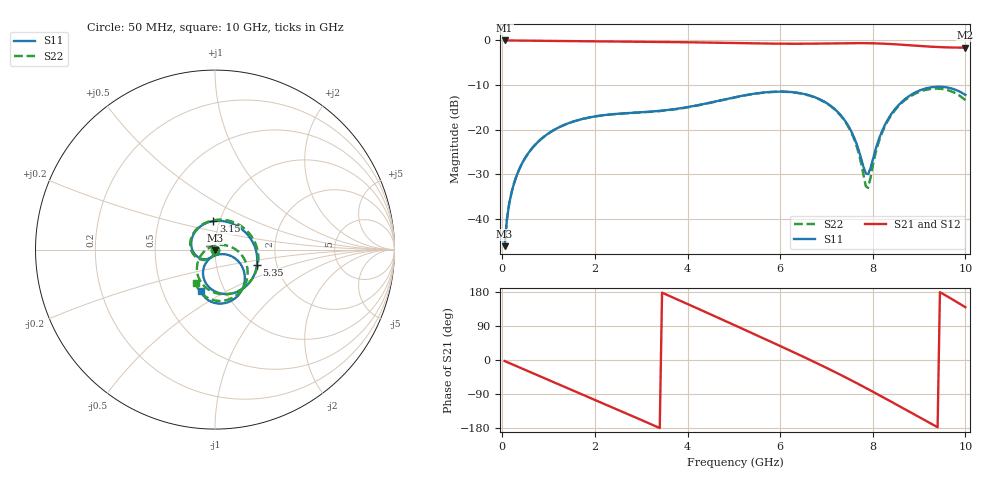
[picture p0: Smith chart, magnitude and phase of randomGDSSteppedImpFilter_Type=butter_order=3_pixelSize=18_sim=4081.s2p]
! freq	dB(S11)	phase(S11)	dB(S12)	phase(S12)
!  dB(S21)	phase(S21)	dB(S22)	phase(S22)
!S-par simulation data
#  GHz  S  DB  R 50
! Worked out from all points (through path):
!   200 points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, 50 MHz to 10 GHz, reference 50 ohm
!   highest |S21| = -0.01 dB at 50 MHz (marker M1); lowest = -1.6 dB at 10 GHz (marker M2)
!   group delay of S21, straight-line fit = 159 ps
!   lowest |S11| = -46.1 dB at 50 MHz (marker M3), VSWR 1.01, Z = 50 - j0.496 ohm
!   |S11| at or under -10 dB: start of sweep to end of sweep
!   |S22| runs from -46.1 to -10.8 dB; largest |S21 - S12| = 0
!   S11 on the Smith chart (normalised r, x): 50 MHz: 1.00, -0.01; 3.15 GHz: 0.93, +0.30; 5.35 GHz: 1.58, -0.29; 10 GHz: 0.77, -0.38
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0.05  -46.08 -91.9  -0.01 -2.7  -0.01 -2.7  -46.08 -91.6
0.1  -40.06 -95.0  -0.01 -5.4  -0.01 -5.4  -40.06 -94.5
0.2  -34.05 -100.7  -0.02 -10.6  -0.02 -10.6  -34.05 -99.7
0.5  -26.22 -117.6  -0.04 -26.4  -0.04 -26.4  -26.22 -115.2
1.15  -19.86 -154.3  -0.11 -60.6  -0.11 -60.6  -19.86 -148.5
1.75  -17.54 172.1  -0.18 -92.0  -0.18 -92.0  -17.55 -178.5
2.4  -16.51 135.6  -0.25 -126.2  -0.25 -126.2  -16.53 149.4
3.15  -15.98 93.5  -0.31 -166.2  -0.31 -166.2  -16.03 111.4
3.4  -15.77 79.7  -0.34 -179.6  -0.34 -179.6  -15.82 98.3
3.85  -15.19 55.6  -0.39 156.0  -0.39 156.0  -15.25 73.9
4.35  -14.23 29.9  -0.46 128.6  -0.46 128.6  -14.29 45.5
5.05  -12.66 -5.2  -0.58 90.0  -0.58 90.0  -12.70 4.5
5.35  -12.08 -20.2  -0.64 73.3  -0.64 73.3  -12.11 -13.2
6.05  -11.46 -55.5  -0.73 34.1  -0.73 34.1  -11.50 -54.6
6.7  -12.53 -88.4  -0.72 -3.0  -0.72 -3.0  -12.58 -93.9
7.45  -18.76 -122.3  -0.61 -48.2  -0.61 -48.2  -18.95 -146.1
7.9  -29.95 -64.4  -0.62 -77.0  -0.62 -77.0  -33.03 91.9
8.1  -23.09 -23.3  -0.67 -90.2  -0.67 -90.2  -23.70 21.3
8.35  -17.30 -25.4  -0.78 -106.8  -0.78 -106.8  -17.56 -5.3
9.2  -10.61 -68.4  -1.37 -163.9  -1.37 -163.9  -10.95 -67.2
9.6  -10.52 -89.8  -1.56 168.5  -1.56 168.5  -11.09 -94.0
10  -12.19 -108.9  -1.62 139.2  -1.62 139.2  -13.36 -120.1
